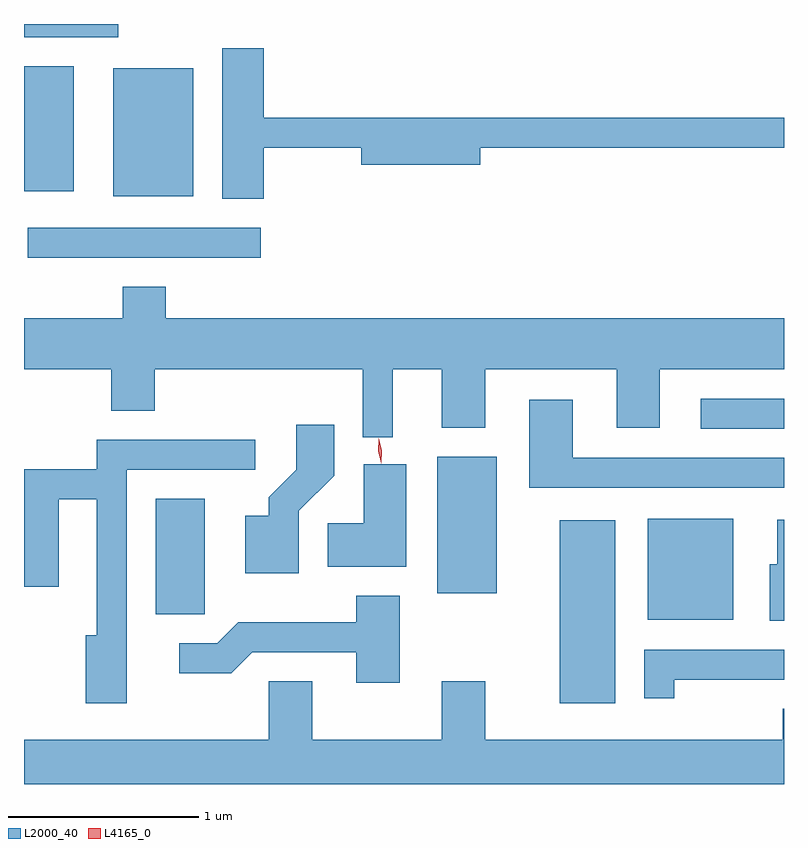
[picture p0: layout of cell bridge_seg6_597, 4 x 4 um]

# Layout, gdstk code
import gdstk
lib = gdstk.Library(unit=1e-6, precision=1e-09)
def R(c, l, rs):  # rectangles x0, y0, x1, y1
    for r in rs: c.add(gdstk.rectangle(r[:2], r[2:], *l))
def P(c, l, *ps):  # polygons
    for p in ps: c.add(gdstk.Polygon(p, *l))
L2000_40 = (2000, 40)
L4165_0 = (4165, 0)

bridge_seg6_597 = lib.new_cell('bridge_seg6_597')
R(bridge_seg6_597, L2000_40, [(608.511,1608.216,608.804,1609.179), (608.976,1608.656,609.424,1609.189), (606.386,1608.686,606.644,1609.294), (607.866,1608.796,608.179,1609.514), (609.253,1609.661,609.692,1609.819), (605.713,1610.561,606.938,1610.719), (606.161,1610.886,606.584,1611.559), (605.692,1610.911,605.954,1611.569), (605.692,1611.721,606.189,1611.792)])
P(bridge_seg6_597, L2000_40, [(606.954,1611.141),(607.466,1611.141),(607.466,1611.051),(608.094,1611.051),(608.094,1611.141),(609.692,1611.141),(609.692,1611.299),(606.954,1611.299),(606.954,1611.664),(606.736,1611.664),(606.736,1610.871),(606.954,1610.871)],
  [(607.634,1609.976),(607.891,1609.976),(607.891,1609.666),(608.119,1609.666),(608.119,1609.976),(608.811,1609.976),(608.811,1609.666),(609.039,1609.666),(609.039,1609.976),(609.692,1609.976),(609.692,1610.244),(606.439,1610.244),(606.439,1610.409),(606.211,1610.409),(606.211,1610.244),(605.692,1610.244),(605.692,1609.976),(606.151,1609.976),(606.151,1609.756),(606.379,1609.756),(606.379,1609.976),(607.476,1609.976),(607.476,1609.618),(607.634,1609.618)],
  [(609.692,1609.509),(608.579,1609.509),(608.579,1609.814),(608.351,1609.814),(608.351,1609.351),(609.692,1609.351)],
  [(607.139,1609.229),(607.324,1609.414),(607.324,1609.684),(607.126,1609.684),(607.126,1609.447),(606.981,1609.302),(606.981,1609.204),(606.856,1609.204),(606.856,1608.901),(607.139,1608.901)],
  [(606.234,1609.446),(606.908,1609.446),(606.908,1609.604),(606.076,1609.604),(606.076,1609.449),(605.692,1609.449),(605.692,1608.831),(605.874,1608.831),(605.874,1609.291),(606.076,1609.291),(606.076,1608.574),(606.016,1608.574),(606.016,1608.216),(606.234,1608.216)],
  [(607.704,1609.474),(607.481,1609.474),(607.481,1609.164),(607.291,1609.164),(607.291,1608.936),(607.704,1608.936)],
  [(609.692,1609.184),(609.656,1609.184),(609.656,1608.949),(609.616,1608.949),(609.616,1608.651),(609.692,1608.651)],
  [(607.669,1608.784),(607.441,1608.784),(607.441,1608.644),(606.819,1608.644),(606.709,1608.534),(606.508,1608.534),(606.508,1608.376),(606.782,1608.376),(606.892,1608.486),(607.441,1608.486),(607.441,1608.326),(607.669,1608.326)],
  [(609.114,1608.341),(609.692,1608.341),(609.692,1608.499),(608.956,1608.499),(608.956,1608.243),(609.114,1608.243)],
  [(609.692,1608.189),(609.686,1608.189),(609.686,1608.024),(608.119,1608.024),(608.119,1608.334),(607.891,1608.334),(607.891,1608.024),(607.209,1608.024),(607.209,1608.334),(606.981,1608.334),(606.981,1608.024),(605.692,1608.024),(605.692,1607.792),(609.692,1607.792)])
P(bridge_seg6_597, L4165_0, [(607.572,1609.479),(607.572,1609.48),(607.556,1609.544),(607.559,1609.611),(607.559,1609.611),(607.56,1609.611),(607.576,1609.546),(607.573,1609.48)])

lib.write_gds('bridge_seg6_597.gds')
